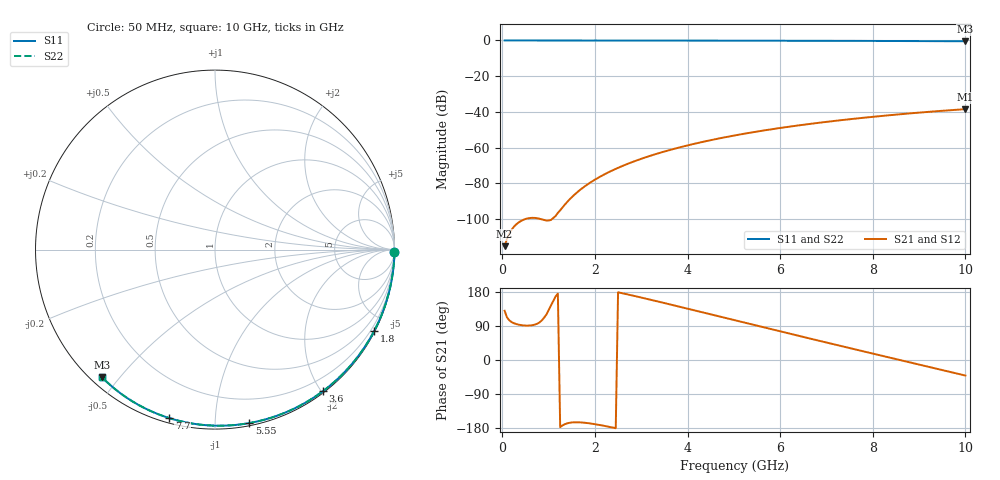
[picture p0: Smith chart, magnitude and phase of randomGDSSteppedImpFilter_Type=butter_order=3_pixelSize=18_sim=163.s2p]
! freq	dB(S11)	phase(S11)	dB(S12)	phase(S12)
!  dB(S21)	phase(S21)	dB(S22)	phase(S22)
!S-par simulation data
#  GHz  S  DB  R 50
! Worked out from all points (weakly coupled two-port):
!   200 points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, 50 MHz to 10 GHz, reference 50 ohm
!   highest |S21| = -38.51 dB at 10 GHz (marker M1); lowest = -115.3 dB at 50 MHz (marker M2)
!   lowest |S11| = -0.4 dB at 10 GHz (marker M3), VSWR 38.98, Z = 1.54 - j22.5 ohm
!   |S11| at or under -10 dB: nowhere
!   |S22| runs from -0.4 to 0.0 dB; largest |S21 - S12| = 0
!   S11 on the Smith chart (normalised r, x): 50 MHz: open; 1.8 GHz: 0.04, -4.16; 3.6 GHz: 0.02, -2.02; 5.55 GHz: 0.02, -1.22; 7.7 GHz: 0.02, -0.76; 10 GHz: 0.03, -0.45
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0.05  -0.00 -0.8  -115.30 129.9  -115.30 129.9  -0.00 -0.8
0.9  -0.02 -13.6  -100.64 111.2  -100.64 111.2  -0.02 -13.6
1.75  -0.03 -26.3  -82.35 -165.2  -82.35 -165.2  -0.03 -26.3
1.8  -0.03 -27.0  -81.40 -165.9  -81.40 -165.9  -0.03 -27.0
1.85  -0.04 -27.7  -80.51 -166.6  -80.51 -166.6  -0.04 -27.7
1.9  -0.04 -28.5  -79.65 -167.4  -79.65 -167.4  -0.04 -28.5
2.05  -0.04 -30.7  -77.26 -170.3  -77.26 -170.3  -0.04 -30.7
2.25  -0.04 -33.6  -74.45 -174.9  -74.45 -174.9  -0.04 -33.6
2.45  -0.05 -36.5  -71.97 -180.0  -71.97 -180.0  -0.05 -36.5
2.65  -0.05 -39.4  -69.74 174.6  -69.74 174.6  -0.05 -39.4
3  -0.06 -44.4  -66.34 164.8  -66.34 164.8  -0.06 -44.4
3.4  -0.07 -50.0  -63.00 153.2  -63.00 153.2  -0.07 -50.0
3.6  -0.07 -52.8  -61.51 147.4  -61.51 147.4  -0.07 -52.8
4.3  -0.09 -62.4  -57.00 126.5  -57.00 126.5  -0.09 -62.4
5.05  -0.11 -72.3  -53.08 104.0  -53.08 104.0  -0.11 -72.3
5.55  -0.13 -78.8  -50.85 89.1  -50.85 89.1  -0.13 -78.8
6.1  -0.15 -85.8  -48.67 72.7  -48.67 72.7  -0.15 -85.7
6.7  -0.18 -93.2  -46.58 54.9  -46.58 54.9  -0.18 -93.2
7.7  -0.24 -105.2  -43.59 25.6  -43.59 25.6  -0.24 -105.2
8.35  -0.29 -112.8  -41.92 6.8  -41.92 6.8  -0.29 -112.7
9.15  -0.36 -121.9  -40.12 -16.3  -40.12 -16.3  -0.36 -121.9
10  -0.45 -131.5  -38.51 -41.1  -38.51 -41.1  -0.45 -131.5
